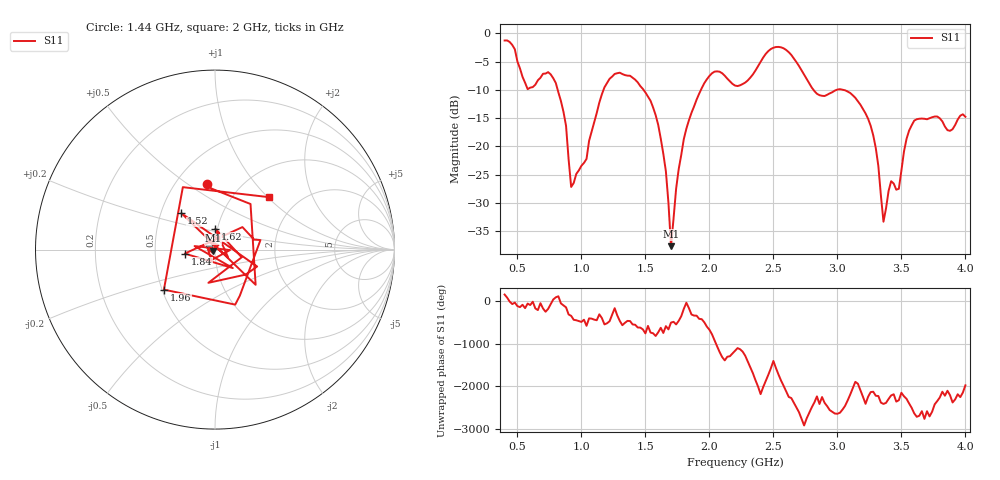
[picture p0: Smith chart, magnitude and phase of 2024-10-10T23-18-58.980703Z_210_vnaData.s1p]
! Created with skrf (http://scikit-rf.org).
# Hz S RI R 50.0
!freq ReS11 ImS11
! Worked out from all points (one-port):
!   181 points, 400 MHz to 4 GHz, reference 50 ohm
!   lowest |S11| = -37.7 dB at 1.7 GHz (marker M1), VSWR 1.03, Z = 48.9 - j0.652 ohm
!   |S11| at or under -10 dB: 814.5 MHz to 1.173 GHz (358.5 MHz wide, 36.1 % of centre); 1.485 GHz to 1.934 GHz (449.3 MHz wide, 26.3 % of centre); 3.041 GHz to end of sweep (the widest 3 of 4)
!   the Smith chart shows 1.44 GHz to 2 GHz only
!   S11 on the Smith chart (normalised r, x): 1.44 GHz: 0.71, +0.60; 1.52 GHz: 0.64, +0.28; 1.62 GHz: 0.98, +0.23; 1.84 GHz: 0.71, -0.03; 1.96 GHz: 0.51, -0.26; 2 GHz: 1.43, +1.02
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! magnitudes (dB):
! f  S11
! 400 MHz  -1.3
! 580 MHz  -9.9
! 760 MHz  -7.3
! 860 MHz  -13.9
! 920 MHz  -27.2
! 1.04 GHz  -22.2
! 1.18 GHz  -9.6
! 1.3 GHz  -7.0
! 1.44 GHz  -8.7
! 1.52 GHz  -11.2
! 1.62 GHz  -18.6
! 1.66 GHz  -24.4
! 1.7 GHz  -37.7
! 1.76 GHz  -24.1
! 1.84 GHz  -15.4
! 1.96 GHz  -8.8
! 2 GHz  -7.6
! 2.2 GHz  -9.3
! 2.5 GHz  -2.6
! 2.66 GHz  -4.5
! 2.84 GHz  -10.7
! 3.1 GHz  -10.6
! 3.28 GHz  -18.1
! 3.36 GHz  -33.4
! 3.42 GHz  -26.2
! 3.48 GHz  -27.5
! 3.56 GHz  -17.2
! 4 GHz  -14.8
